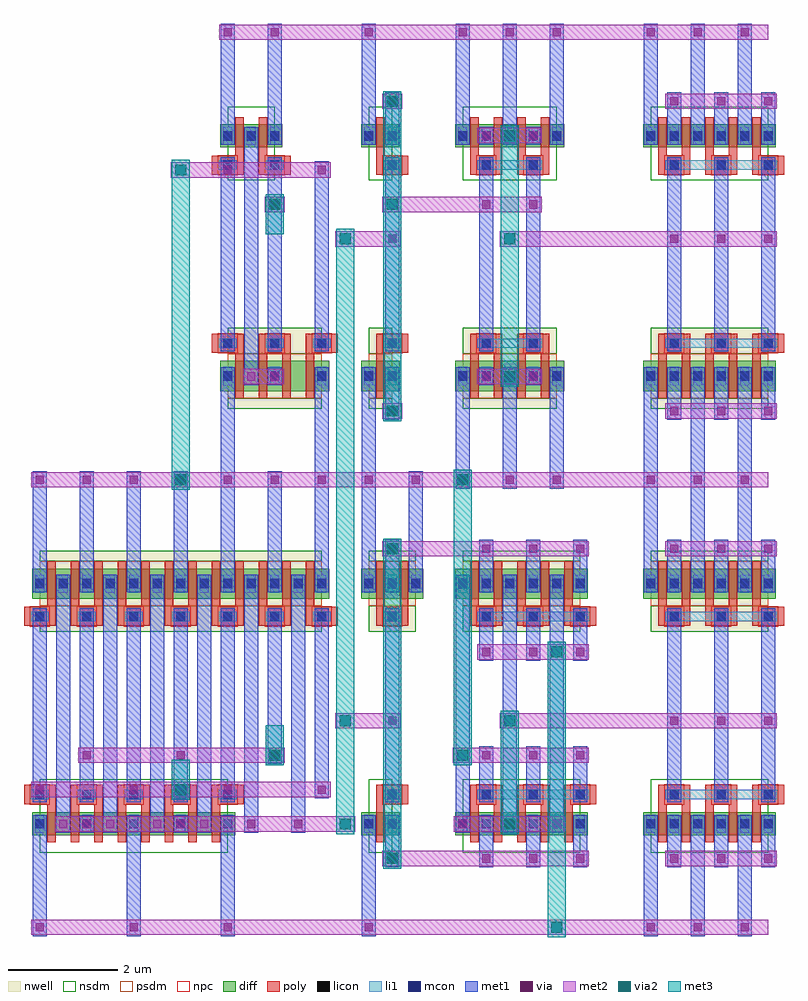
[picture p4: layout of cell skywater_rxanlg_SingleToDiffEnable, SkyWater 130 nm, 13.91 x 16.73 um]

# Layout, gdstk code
import gdstk
lib = gdstk.Library(unit=1e-6, precision=1e-09)
def R(c, l, rs):  # rectangles x0, y0, x1, y1
    for r in rs: c.add(gdstk.rectangle(r[:2], r[2:], *l))
def A(c, l, x, y, w, h, nx, ny, dx, dy):  # array of equal rectangles
    R(c, l, [(x+i*dx, y+j*dy, x+i*dx+w, y+j*dy+h) for i in range(nx) for j in range(ny)])
def P(c, l, *ps):  # polygons
    for p in ps: c.add(gdstk.Polygon(p, *l))
nwell = (64, 20)
diff = (65, 20)
poly = (66, 20)
licon = (66, 44)
li1 = (67, 20)
mcon = (67, 44)
met1 = (68, 20)
via = (68, 44)
met2 = (69, 20)
via2 = (69, 44)
met3 = (70, 20)
nsdm = (93, 44)
psdm = (94, 20)
npc = (95, 20)

skywater_rxanlg_mosconn_ = lib.new_cell('skywater_rxanlg_MOSConn_6')
R(skywater_rxanlg_mosconn_, diff, [(-0.14,0.605,3.58,1.025)])
A(skywater_rxanlg_mosconn_, poly, -0.165, 0.105, 0.33, 0.35, 5, 1, 0.86, 0)
P(skywater_rxanlg_mosconn_, poly, [(0.14,1.155),(0.14,0.455),(-0.29,0.455),(-0.29,0.105),(0.29,0.105),(0.29,1.155)],
  [(1,1.155),(1,0.455),(0.72,0.455),(0.72,1.155),(0.57,1.155),(0.57,0.105),(1.15,0.105),(1.15,1.155)],
  [(1.86,1.155),(1.86,0.455),(1.58,0.455),(1.58,1.155),(1.43,1.155),(1.43,0.105),(2.01,0.105),(2.01,1.155)],
  [(2.72,1.155),(2.72,0.455),(2.44,0.455),(2.44,1.155),(2.29,1.155),(2.29,0.105),(2.87,0.105),(2.87,1.155)],
  [(3.15,1.155),(3.15,0.105),(3.73,0.105),(3.73,0.455),(3.3,0.455),(3.3,1.155)])
A(skywater_rxanlg_mosconn_, licon, -0.085, 0.195, 0.17, 0.17, 5, 2, 0.86, 0.535)
A(skywater_rxanlg_mosconn_, li1, -0.125, 0.195, 0.25, 0.17, 5, 1, 0.86, 0)
A(skywater_rxanlg_mosconn_, li1, -0.085, 0.65, 0.17, 0.33, 5, 1, 0.86, 0)
A(skywater_rxanlg_mosconn_, li1, -0.085, 0.69, 0.17, 0.25, 5, 1, 0.86, 0)
R(skywater_rxanlg_mosconn_, li1, [(-0.165,0.195,0.165,0.365), (-0.165,0.195,0.165,0.365), (0.695,0.195,1.025,0.365), (0.695,0.195,1.025,0.365), (1.555,0.195,1.885,0.365), (1.555,0.195,1.885,0.365), (2.415,0.195,2.745,0.365), (2.415,0.195,2.745,0.365), (3.275,0.195,3.605,0.365), (3.275,0.195,3.605,0.365)])
A(skywater_rxanlg_mosconn_, mcon, -0.085, 0.195, 0.17, 0.17, 5, 2, 0.86, 0.535)
A(skywater_rxanlg_mosconn_, met1, -0.13, 0.105, 0.26, 0.32, 5, 2, 0.86, 0.55)
A(skywater_rxanlg_mosconn_, met1, -0.13, 0.135, 0.26, 0.29, 5, 2, 0.86, 0.535)
R(skywater_rxanlg_mosconn_, nsdm, [(0,0,3.44,1.35)])
A(skywater_rxanlg_mosconn_, npc, -0.185, 0.095, 0.37, 0.37, 5, 1, 0.86, 0)

c_skywater_rxanlg_mosconn_ = lib.new_cell('skywater_rxanlg_MOSConn_10')
R(c_skywater_rxanlg_mosconn_, nwell, [(0,0,5.16,1.48)])
R(c_skywater_rxanlg_mosconn_, diff, [(-0.14,0.605,5.3,1.155)])
A(c_skywater_rxanlg_mosconn_, poly, -0.165, 0.105, 0.33, 0.35, 7, 1, 0.86, 0)
P(c_skywater_rxanlg_mosconn_, poly, [(0.14,1.285),(0.14,0.455),(-0.29,0.455),(-0.29,0.105),(0.29,0.105),(0.29,1.285)],
  [(1,1.285),(1,0.455),(0.72,0.455),(0.72,1.285),(0.57,1.285),(0.57,0.105),(1.15,0.105),(1.15,1.285)],
  [(1.86,1.285),(1.86,0.455),(1.58,0.455),(1.58,1.285),(1.43,1.285),(1.43,0.105),(2.01,0.105),(2.01,1.285)],
  [(2.72,1.285),(2.72,0.455),(2.44,0.455),(2.44,1.285),(2.29,1.285),(2.29,0.105),(2.87,0.105),(2.87,1.285)],
  [(3.58,1.285),(3.58,0.455),(3.3,0.455),(3.3,1.285),(3.15,1.285),(3.15,0.105),(3.73,0.105),(3.73,1.285)],
  [(4.44,1.285),(4.44,0.455),(4.16,0.455),(4.16,1.285),(4.01,1.285),(4.01,0.105),(4.59,0.105),(4.59,1.285)],
  [(4.87,1.285),(4.87,0.105),(5.45,0.105),(5.45,0.455),(5.02,0.455),(5.02,1.285)])
A(c_skywater_rxanlg_mosconn_, licon, -0.085, 0.195, 0.17, 0.17, 7, 1, 0.86, 0)
A(c_skywater_rxanlg_mosconn_, licon, -0.085, 0.795, 0.17, 0.17, 13, 1, 0.43, 0)
A(c_skywater_rxanlg_mosconn_, li1, -0.125, 0.195, 0.25, 0.17, 7, 1, 0.86, 0)
A(c_skywater_rxanlg_mosconn_, li1, -0.085, 0.715, 0.17, 0.33, 13, 1, 0.43, 0)
A(c_skywater_rxanlg_mosconn_, li1, -0.085, 0.755, 0.17, 0.25, 13, 1, 0.43, 0)
R(c_skywater_rxanlg_mosconn_, li1, [(-0.165,0.195,0.165,0.365), (-0.165,0.195,0.165,0.365), (0.695,0.195,1.025,0.365), (0.695,0.195,1.025,0.365), (1.555,0.195,1.885,0.365), (1.555,0.195,1.885,0.365), (2.415,0.195,2.745,0.365), (2.415,0.195,2.745,0.365), (3.275,0.195,3.605,0.365), (3.275,0.195,3.605,0.365), (4.135,0.195,4.465,0.365), (4.135,0.195,4.465,0.365), (4.995,0.195,5.325,0.365), (4.995,0.195,5.325,0.365)])
A(c_skywater_rxanlg_mosconn_, mcon, -0.085, 0.195, 0.17, 0.17, 7, 1, 0.86, 0)
A(c_skywater_rxanlg_mosconn_, mcon, -0.085, 0.795, 0.17, 0.17, 13, 1, 0.43, 0)
A(c_skywater_rxanlg_mosconn_, met1, -0.13, 0.105, 0.26, 0.32, 7, 1, 0.86, 0)
A(c_skywater_rxanlg_mosconn_, met1, -0.13, 0.135, 0.26, 0.29, 7, 1, 0.86, 0)
A(c_skywater_rxanlg_mosconn_, met1, -0.13, 0.72, 0.26, 0.32, 13, 1, 0.43, 0)
A(c_skywater_rxanlg_mosconn_, met1, -0.13, 0.735, 0.26, 0.29, 13, 1, 0.43, 0)
R(c_skywater_rxanlg_mosconn_, nsdm, [(0,0,5.16,0.475), (0,1.285,5.16,1.48)])
R(c_skywater_rxanlg_mosconn_, psdm, [(0,0.475,5.16,1.285)])
A(c_skywater_rxanlg_mosconn_, npc, -0.185, 0.095, 0.37, 0.37, 7, 1, 0.86, 0)

skywater_rxanlg_nand2cor = lib.new_cell('skywater_rxanlg_NAND2Core')
A(skywater_rxanlg_nand2cor, met1, -0.13, -0.16, 0.26, 2.215, 3, 1, 1.72, 0)
A(skywater_rxanlg_nand2cor, met1, -0.13, -0.16, 0.26, 0.32, 3, 1, 1.72, 0)
A(skywater_rxanlg_nand2cor, met1, 0.3, 1.73, 0.26, 4.72, 6, 1, 0.86, 0)
A(skywater_rxanlg_nand2cor, met1, 0.3, 1.73, 0.26, 0.32, 3, 1, 0.43, 0)
A(skywater_rxanlg_nand2cor, met1, 2.02, 1.73, 0.26, 0.32, 3, 1, 0.43, 0)
A(skywater_rxanlg_nand2cor, met1, -0.13, 2.285, 0.26, 3.55, 5, 1, 0.86, 0)
A(skywater_rxanlg_nand2cor, met1, -0.13, 2.36, 0.26, 0.32, 4, 1, 1.72, 0)
A(skywater_rxanlg_nand2cor, met1, 0.73, 2.99, 0.26, 0.32, 3, 1, 1.72, 0)
A(skywater_rxanlg_nand2cor, met1, -0.13, 6.13, 0.26, 2.22, 7, 1, 0.86, 0)
A(skywater_rxanlg_nand2cor, met1, -0.13, 8.03, 0.26, 0.32, 7, 1, 0.86, 0)
R(skywater_rxanlg_nand2cor, met1, [(0.73,1.73,0.99,2.055), (2.45,1.73,2.71,2.055), (3.74,1.73,4,2.05), (4.6,1.73,4.86,2.05), (5.03,2.36,5.29,5.835), (4.17,2.99,4.43,5.835)])
A(skywater_rxanlg_nand2cor, via, -0.075, -0.075, 0.15, 0.15, 3, 1, 1.72, 0)
A(skywater_rxanlg_nand2cor, via, 0.355, 1.815, 0.15, 0.15, 3, 1, 0.43, 0)
A(skywater_rxanlg_nand2cor, via, 2.075, 1.815, 0.15, 0.15, 3, 1, 0.43, 0)
A(skywater_rxanlg_nand2cor, via, -0.075, 2.445, 0.15, 0.15, 4, 1, 1.72, 0)
A(skywater_rxanlg_nand2cor, via, 0.785, 3.075, 0.15, 0.15, 3, 1, 1.72, 0)
A(skywater_rxanlg_nand2cor, via, -0.075, 8.115, 0.15, 0.15, 7, 1, 0.86, 0)
R(skywater_rxanlg_nand2cor, via, [(3.795,1.815,3.945,1.965), (4.655,1.815,4.805,1.965)])
A(skywater_rxanlg_nand2cor, met2, -0.16, -0.14, 0.32, 0.28, 3, 1, 1.72, 0)
A(skywater_rxanlg_nand2cor, met2, 0.27, 1.75, 0.32, 0.28, 3, 1, 0.43, 0)
A(skywater_rxanlg_nand2cor, met2, 1.99, 1.75, 0.32, 0.28, 3, 1, 0.43, 0)
A(skywater_rxanlg_nand2cor, met2, -0.16, 2.38, 0.32, 0.28, 4, 1, 1.72, 0)
A(skywater_rxanlg_nand2cor, met2, 0.7, 3.01, 0.32, 0.28, 3, 1, 1.72, 0)
A(skywater_rxanlg_nand2cor, met2, -0.16, 8.05, 0.32, 0.28, 7, 1, 0.86, 0)
R(skywater_rxanlg_nand2cor, met2, [(-0.16,-0.14,5.16,0.14), (0.27,1.75,4.89,2.03), (3.71,1.75,4.03,2.03), (4.57,1.75,4.89,2.03), (-0.16,2.38,5.32,2.66), (0.7,3.01,4.46,3.29), (-0.16,8.05,5.32,8.33)])
skywater_rxanlg_nand2cor.add(gdstk.Reference(skywater_rxanlg_mosconn_, (0,2.71), x_reflection=True))
skywater_rxanlg_nand2cor.add(gdstk.Reference(c_skywater_rxanlg_mosconn_, (0,5.41)))

c_skywater_rxanlg_mosconn__ = lib.new_cell('skywater_rxanlg_MOSConn_7')
R(c_skywater_rxanlg_mosconn__, diff, [(-0.14,0.605,0.57,1.025)])
R(c_skywater_rxanlg_mosconn__, poly, [(0.265,0.105,0.595,0.455)])
P(c_skywater_rxanlg_mosconn__, poly, [(0.14,1.155),(0.14,0.105),(0.72,0.105),(0.72,0.455),(0.29,0.455),(0.29,1.155)])
R(c_skywater_rxanlg_mosconn__, licon, [(0.345,0.195,0.515,0.365), (-0.085,0.73,0.085,0.9), (0.345,0.73,0.515,0.9)])
R(c_skywater_rxanlg_mosconn__, li1, [(0.265,0.195,0.595,0.365), (0.265,0.195,0.595,0.365), (0.305,0.195,0.555,0.365), (-0.085,0.65,0.085,0.98), (0.345,0.65,0.515,0.98), (-0.085,0.69,0.085,0.94), (0.345,0.69,0.515,0.94)])
R(c_skywater_rxanlg_mosconn__, mcon, [(0.345,0.195,0.515,0.365), (-0.085,0.73,0.085,0.9), (0.345,0.73,0.515,0.9)])
R(c_skywater_rxanlg_mosconn__, met1, [(0.3,0.105,0.56,0.425), (0.3,0.135,0.56,0.425), (-0.13,0.655,0.13,0.975), (0.3,0.655,0.56,0.975), (-0.13,0.67,0.13,0.96), (0.3,0.67,0.56,0.96)])
R(c_skywater_rxanlg_mosconn__, nsdm, [(0,0,0.43,1.35)])
R(c_skywater_rxanlg_mosconn__, npc, [(0.245,0.095,0.615,0.465)])

c_skywater_rxanlg_mosconn___ = lib.new_cell('skywater_rxanlg_MOSConn_3')
R(c_skywater_rxanlg_mosconn___, nwell, [(0,0,0.86,1.48)])
R(c_skywater_rxanlg_mosconn___, diff, [(-0.14,0.605,1,1.155)])
R(c_skywater_rxanlg_mosconn___, poly, [(0.265,0.105,0.595,0.455)])
P(c_skywater_rxanlg_mosconn___, poly, [(0.57,1.285),(0.57,0.455),(0.29,0.455),(0.29,1.285),(0.14,1.285),(0.14,0.105),(0.72,0.105),(0.72,1.285)])
A(c_skywater_rxanlg_mosconn___, licon, -0.085, 0.795, 0.17, 0.17, 3, 1, 0.43, 0)
R(c_skywater_rxanlg_mosconn___, licon, [(0.345,0.195,0.515,0.365)])
A(c_skywater_rxanlg_mosconn___, li1, -0.085, 0.715, 0.17, 0.33, 3, 1, 0.43, 0)
A(c_skywater_rxanlg_mosconn___, li1, -0.085, 0.755, 0.17, 0.25, 3, 1, 0.43, 0)
R(c_skywater_rxanlg_mosconn___, li1, [(0.265,0.195,0.595,0.365), (0.265,0.195,0.595,0.365), (0.305,0.195,0.555,0.365)])
A(c_skywater_rxanlg_mosconn___, mcon, -0.085, 0.795, 0.17, 0.17, 3, 1, 0.43, 0)
R(c_skywater_rxanlg_mosconn___, mcon, [(0.345,0.195,0.515,0.365)])
A(c_skywater_rxanlg_mosconn___, met1, -0.13, 0.72, 0.26, 0.32, 3, 1, 0.43, 0)
A(c_skywater_rxanlg_mosconn___, met1, -0.13, 0.735, 0.26, 0.29, 3, 1, 0.43, 0)
R(c_skywater_rxanlg_mosconn___, met1, [(0.3,0.105,0.56,0.425), (0.3,0.135,0.56,0.425)])
R(c_skywater_rxanlg_mosconn___, nsdm, [(0,0,0.86,0.475), (0,1.285,0.86,1.48)])
R(c_skywater_rxanlg_mosconn___, psdm, [(0,0.475,0.86,1.285)])
R(c_skywater_rxanlg_mosconn___, npc, [(0.245,0.095,0.615,0.465)])

skywater_rxanlg_invcore_ = lib.new_cell('skywater_rxanlg_InvCore_5')
R(skywater_rxanlg_invcore_, met1, [(-0.13,-0.16,0.13,2.055), (-0.13,-0.16,0.13,0.16), (0.3,1.1,0.56,2.055), (0.3,1.1,0.56,1.42), (0.3,2.285,0.56,5.835), (0.3,3.62,0.56,3.94), (-0.13,6.13,0.13,8.35), (0.3,6.13,0.56,7.09), (0.73,6.13,0.99,8.35), (0.3,6.77,0.56,7.09), (-0.13,8.03,0.13,8.35), (0.73,8.03,0.99,8.35)])
R(skywater_rxanlg_invcore_, via, [(-0.075,-0.075,0.075,0.075), (0.355,1.185,0.505,1.335), (0.355,3.705,0.505,3.855), (0.355,6.855,0.505,7.005), (-0.075,8.115,0.075,8.265), (0.785,8.115,0.935,8.265)])
R(skywater_rxanlg_invcore_, met2, [(-0.16,-0.14,0.86,0.14), (-0.16,-0.14,0.16,0.14), (0.245,1.12,0.615,1.4), (0.245,1.12,0.615,1.4), (0.27,1.12,0.59,1.4), (0.27,3.64,0.59,3.92), (0.27,3.64,0.59,3.92), (0.245,6.79,0.615,7.07), (0.245,6.79,0.615,7.07), (0.27,6.79,0.59,7.07), (-0.16,8.05,0.16,8.33), (-0.16,8.05,1.02,8.33), (0.7,8.05,1.02,8.33)])
R(skywater_rxanlg_invcore_, via2, [(0.33,1.16,0.53,1.36), (0.33,6.83,0.53,7.03)])
R(skywater_rxanlg_invcore_, met3, [(0.265,1.075,0.595,7.115), (0.265,1.075,0.595,1.445), (0.265,6.745,0.595,7.115)])
skywater_rxanlg_invcore_.add(gdstk.Reference(c_skywater_rxanlg_mosconn__, (0,2.71), x_reflection=True))
skywater_rxanlg_invcore_.add(gdstk.Reference(c_skywater_rxanlg_mosconn___, (0,5.41)))

c_skywater_rxanlg_mosconn____ = lib.new_cell('skywater_rxanlg_MOSConn_14')
R(c_skywater_rxanlg_mosconn____, diff, [(-0.14,0.605,2.29,1.025)])
A(c_skywater_rxanlg_mosconn____, poly, 0.265, 0.105, 0.33, 0.35, 3, 1, 0.86, 0)
P(c_skywater_rxanlg_mosconn____, poly, [(0.57,1.155),(0.57,0.455),(0.29,0.455),(0.29,1.155),(0.14,1.155),(0.14,0.105),(0.72,0.105),(0.72,1.155)],
  [(1.43,1.155),(1.43,0.455),(1.15,0.455),(1.15,1.155),(1,1.155),(1,0.105),(1.58,0.105),(1.58,1.155)],
  [(1.86,1.155),(1.86,0.105),(2.44,0.105),(2.44,0.455),(2.01,0.455),(2.01,1.155)])
A(c_skywater_rxanlg_mosconn____, licon, 0.345, 0.195, 0.17, 0.17, 3, 1, 0.86, 0)
A(c_skywater_rxanlg_mosconn____, licon, -0.085, 0.73, 0.17, 0.17, 6, 1, 0.43, 0)
A(c_skywater_rxanlg_mosconn____, li1, 0.265, 0.195, 0.33, 0.17, 3, 1, 0.86, 0)
A(c_skywater_rxanlg_mosconn____, li1, 0.305, 0.195, 0.25, 0.17, 3, 1, 0.86, 0)
A(c_skywater_rxanlg_mosconn____, li1, -0.085, 0.65, 0.17, 0.33, 6, 1, 0.43, 0)
A(c_skywater_rxanlg_mosconn____, li1, -0.085, 0.69, 0.17, 0.25, 6, 1, 0.43, 0)
R(c_skywater_rxanlg_mosconn____, li1, [(0.265,0.195,2.315,0.365)])
A(c_skywater_rxanlg_mosconn____, mcon, 0.345, 0.195, 0.17, 0.17, 3, 1, 0.86, 0)
A(c_skywater_rxanlg_mosconn____, mcon, -0.085, 0.73, 0.17, 0.17, 6, 1, 0.43, 0)
A(c_skywater_rxanlg_mosconn____, met1, 0.3, 0.105, 0.26, 0.32, 3, 1, 0.86, 0)
A(c_skywater_rxanlg_mosconn____, met1, 0.3, 0.135, 0.26, 0.29, 3, 1, 0.86, 0)
A(c_skywater_rxanlg_mosconn____, met1, -0.13, 0.655, 0.26, 0.32, 6, 1, 0.43, 0)
A(c_skywater_rxanlg_mosconn____, met1, -0.13, 0.67, 0.26, 0.29, 6, 1, 0.43, 0)
R(c_skywater_rxanlg_mosconn____, nsdm, [(0,0,2.15,1.35)])
A(c_skywater_rxanlg_mosconn____, npc, 0.245, 0.095, 0.37, 0.37, 3, 1, 0.86, 0)

c_skywater_rxanlg_mosconn_____ = lib.new_cell('skywater_rxanlg_MOSConn_13')
R(c_skywater_rxanlg_mosconn_____, nwell, [(0,0,2.15,1.48)])
R(c_skywater_rxanlg_mosconn_____, diff, [(-0.14,0.605,2.29,1.155)])
A(c_skywater_rxanlg_mosconn_____, poly, 0.265, 0.105, 0.33, 0.35, 3, 1, 0.86, 0)
P(c_skywater_rxanlg_mosconn_____, poly, [(0.57,1.285),(0.57,0.455),(0.29,0.455),(0.29,1.285),(0.14,1.285),(0.14,0.105),(0.72,0.105),(0.72,1.285)],
  [(1.43,1.285),(1.43,0.455),(1.15,0.455),(1.15,1.285),(1,1.285),(1,0.105),(1.58,0.105),(1.58,1.285)],
  [(1.86,1.285),(1.86,0.105),(2.44,0.105),(2.44,0.455),(2.01,0.455),(2.01,1.285)])
A(c_skywater_rxanlg_mosconn_____, licon, 0.345, 0.195, 0.17, 0.17, 3, 1, 0.86, 0)
A(c_skywater_rxanlg_mosconn_____, licon, -0.085, 0.795, 0.17, 0.17, 6, 1, 0.43, 0)
A(c_skywater_rxanlg_mosconn_____, li1, 0.265, 0.195, 0.33, 0.17, 3, 1, 0.86, 0)
A(c_skywater_rxanlg_mosconn_____, li1, 0.305, 0.195, 0.25, 0.17, 3, 1, 0.86, 0)
A(c_skywater_rxanlg_mosconn_____, li1, -0.085, 0.715, 0.17, 0.33, 6, 1, 0.43, 0)
A(c_skywater_rxanlg_mosconn_____, li1, -0.085, 0.755, 0.17, 0.25, 6, 1, 0.43, 0)
R(c_skywater_rxanlg_mosconn_____, li1, [(0.265,0.195,2.315,0.365)])
A(c_skywater_rxanlg_mosconn_____, mcon, 0.345, 0.195, 0.17, 0.17, 3, 1, 0.86, 0)
A(c_skywater_rxanlg_mosconn_____, mcon, -0.085, 0.795, 0.17, 0.17, 6, 1, 0.43, 0)
A(c_skywater_rxanlg_mosconn_____, met1, 0.3, 0.105, 0.26, 0.32, 3, 1, 0.86, 0)
A(c_skywater_rxanlg_mosconn_____, met1, 0.3, 0.135, 0.26, 0.29, 3, 1, 0.86, 0)
A(c_skywater_rxanlg_mosconn_____, met1, -0.13, 0.72, 0.26, 0.32, 6, 1, 0.43, 0)
A(c_skywater_rxanlg_mosconn_____, met1, -0.13, 0.735, 0.26, 0.29, 6, 1, 0.43, 0)
R(c_skywater_rxanlg_mosconn_____, nsdm, [(0,0,2.15,0.475), (0,1.285,2.15,1.48)])
R(c_skywater_rxanlg_mosconn_____, psdm, [(0,0.475,2.15,1.285)])
A(c_skywater_rxanlg_mosconn_____, npc, 0.245, 0.095, 0.37, 0.37, 3, 1, 0.86, 0)

c_skywater_rxanlg_invcore_ = lib.new_cell('skywater_rxanlg_InvCore_6')
A(c_skywater_rxanlg_invcore_, met1, -0.13, -0.16, 0.26, 2.215, 3, 1, 0.86, 0)
A(c_skywater_rxanlg_invcore_, met1, -0.13, -0.16, 0.26, 0.32, 3, 2, 0.86, 8.19)
A(c_skywater_rxanlg_invcore_, met1, 0.3, 1.1, 0.26, 0.955, 3, 1, 0.86, 0)
A(c_skywater_rxanlg_invcore_, met1, 0.3, 1.1, 0.26, 0.32, 3, 2, 0.86, 2.52)
A(c_skywater_rxanlg_invcore_, met1, 0.3, 2.285, 0.26, 3.55, 3, 1, 0.86, 0)
A(c_skywater_rxanlg_invcore_, met1, -0.13, 6.13, 0.26, 2.22, 3, 1, 0.86, 0)
A(c_skywater_rxanlg_invcore_, met1, 0.3, 6.13, 0.26, 0.96, 3, 1, 0.86, 0)
A(c_skywater_rxanlg_invcore_, met1, 0.3, 6.77, 0.26, 0.32, 3, 1, 0.86, 0)
A(c_skywater_rxanlg_invcore_, via, -0.075, -0.075, 0.15, 0.15, 3, 2, 0.86, 8.19)
A(c_skywater_rxanlg_invcore_, via, 0.355, 1.185, 0.15, 0.15, 3, 2, 0.86, 2.52)
A(c_skywater_rxanlg_invcore_, via, 0.355, 6.855, 0.15, 0.15, 3, 1, 0.86, 0)
A(c_skywater_rxanlg_invcore_, met2, -0.16, -0.14, 0.32, 0.28, 3, 2, 0.86, 8.19)
A(c_skywater_rxanlg_invcore_, met2, 0.27, 1.12, 0.32, 0.28, 3, 2, 0.86, 2.52)
A(c_skywater_rxanlg_invcore_, met2, 0.27, 6.79, 0.32, 0.28, 3, 1, 0.86, 0)
R(c_skywater_rxanlg_invcore_, met2, [(-0.16,-0.14,2.15,0.14), (0.27,1.12,2.31,1.4), (0.27,3.64,2.31,3.92), (0.27,6.79,2.31,7.07), (-0.16,8.05,2.15,8.33)])
c_skywater_rxanlg_invcore_.add(gdstk.Reference(c_skywater_rxanlg_mosconn____, (0,2.71), x_reflection=True))
c_skywater_rxanlg_invcore_.add(gdstk.Reference(c_skywater_rxanlg_mosconn_____, (0,5.41)))

skywater_rxanlg_passgate = lib.new_cell('skywater_rxanlg_PassGateCore')
A(skywater_rxanlg_passgate, met1, 0.3, 1.1, 0.26, 0.955, 3, 2, 0.86, 3.78)
A(skywater_rxanlg_passgate, met1, 0.3, 1.1, 0.26, 0.32, 3, 4, 0.86, 1.89)
A(skywater_rxanlg_passgate, met1, -0.13, 1.73, 0.26, 4.72, 3, 1, 0.86, 0)
A(skywater_rxanlg_passgate, met1, -0.13, 1.73, 0.26, 0.32, 3, 1, 0.86, 0)
A(skywater_rxanlg_passgate, met1, 0.3, 2.285, 0.26, 1.025, 3, 1, 0.86, 0)
A(skywater_rxanlg_passgate, met1, 0.3, 6.13, 0.26, 0.96, 3, 1, 0.86, 0)
A(skywater_rxanlg_passgate, via, 0.355, 1.185, 0.15, 0.15, 3, 4, 0.86, 1.89)
A(skywater_rxanlg_passgate, via, -0.075, 1.815, 0.15, 0.15, 3, 1, 0.86, 0)
A(skywater_rxanlg_passgate, met2, 0.27, 1.12, 2.04, 0.28, 1, 4, 0, 1.89)
A(skywater_rxanlg_passgate, met2, 0.27, 1.12, 0.32, 0.28, 3, 4, 0.86, 1.89)
A(skywater_rxanlg_passgate, met2, -0.16, 1.75, 0.32, 0.28, 3, 1, 0.86, 0)
R(skywater_rxanlg_passgate, met2, [(0,-0.14,2.15,0.14), (-0.16,1.75,1.88,2.03), (0,8.05,2.15,8.33)])
skywater_rxanlg_passgate.add(gdstk.Reference(c_skywater_rxanlg_mosconn____, (0,2.71), x_reflection=True))
skywater_rxanlg_passgate.add(gdstk.Reference(c_skywater_rxanlg_mosconn_____, (0,5.41)))

c_skywater_rxanlg_mosconn______ = lib.new_cell('skywater_rxanlg_MOSConn_4')
R(c_skywater_rxanlg_mosconn______, nwell, [(0,0,0.43,1.48)])
R(c_skywater_rxanlg_mosconn______, diff, [(-0.14,0.605,0.57,1.155)])
R(c_skywater_rxanlg_mosconn______, poly, [(0.265,0.105,0.595,0.455)])
P(c_skywater_rxanlg_mosconn______, poly, [(0.14,1.285),(0.14,0.105),(0.72,0.105),(0.72,0.455),(0.29,0.455),(0.29,1.285)])
R(c_skywater_rxanlg_mosconn______, licon, [(0.345,0.195,0.515,0.365), (-0.085,0.795,0.085,0.965), (0.345,0.795,0.515,0.965)])
R(c_skywater_rxanlg_mosconn______, li1, [(0.265,0.195,0.595,0.365), (0.265,0.195,0.595,0.365), (0.305,0.195,0.555,0.365), (-0.085,0.715,0.085,1.045), (0.345,0.715,0.515,1.045), (-0.085,0.755,0.085,1.005), (0.345,0.755,0.515,1.005)])
R(c_skywater_rxanlg_mosconn______, mcon, [(0.345,0.195,0.515,0.365), (-0.085,0.795,0.085,0.965), (0.345,0.795,0.515,0.965)])
R(c_skywater_rxanlg_mosconn______, met1, [(0.3,0.105,0.56,0.425), (0.3,0.135,0.56,0.425), (-0.13,0.72,0.13,1.04), (0.3,0.72,0.56,1.04), (-0.13,0.735,0.13,1.025), (0.3,0.735,0.56,1.025)])
R(c_skywater_rxanlg_mosconn______, nsdm, [(0,0,0.43,0.475), (0,1.285,0.43,1.48)])
R(c_skywater_rxanlg_mosconn______, psdm, [(0,0.475,0.43,1.285)])
R(c_skywater_rxanlg_mosconn______, npc, [(0.245,0.095,0.615,0.465)])

c_skywater_rxanlg_invcore__ = lib.new_cell('skywater_rxanlg_InvCore_7')
R(c_skywater_rxanlg_invcore__, met1, [(-0.13,-0.16,0.13,2.055), (-0.13,-0.16,0.13,0.16), (0.3,1.1,0.56,2.055), (0.3,1.1,0.56,1.42), (0.3,2.285,0.56,5.835), (0.3,3.62,0.56,3.94), (-0.13,6.13,0.13,8.35), (0.3,6.13,0.56,7.09), (0.3,6.77,0.56,7.09), (-0.13,8.03,0.13,8.35)])
R(c_skywater_rxanlg_invcore__, via, [(-0.075,-0.075,0.075,0.075), (0.355,1.185,0.505,1.335), (0.355,3.705,0.505,3.855), (0.355,6.855,0.505,7.005), (-0.075,8.115,0.075,8.265)])
R(c_skywater_rxanlg_invcore__, met2, [(-0.16,-0.14,0.43,0.14), (-0.16,-0.14,0.16,0.14), (0.245,1.12,0.615,1.4), (0.245,1.12,0.615,1.4), (0.27,1.12,0.59,1.4), (0.27,3.64,0.59,3.92), (0.27,3.64,0.59,3.92), (0.245,6.79,0.615,7.07), (0.245,6.79,0.615,7.07), (0.27,6.79,0.59,7.07), (-0.16,8.05,0.43,8.33), (-0.16,8.05,0.16,8.33)])
R(c_skywater_rxanlg_invcore__, via2, [(0.33,1.16,0.53,1.36), (0.33,6.83,0.53,7.03)])
R(c_skywater_rxanlg_invcore__, met3, [(0.265,1.075,0.595,7.115), (0.265,1.075,0.595,1.445), (0.265,6.745,0.595,7.115)])
c_skywater_rxanlg_invcore__.add(gdstk.Reference(c_skywater_rxanlg_mosconn__, (0,2.71), x_reflection=True))
c_skywater_rxanlg_invcore__.add(gdstk.Reference(c_skywater_rxanlg_mosconn______, (0,5.41)))

c_skywater_rxanlg_mosconn_______ = lib.new_cell('skywater_rxanlg_MOSConn_8')
R(c_skywater_rxanlg_mosconn_______, diff, [(-0.14,0.605,1.86,1.025)])
R(c_skywater_rxanlg_mosconn_______, poly, [(0.265,0.105,0.595,0.455), (1.125,0.105,1.455,0.455)])
P(c_skywater_rxanlg_mosconn_______, poly, [(0.57,1.155),(0.57,0.455),(0.29,0.455),(0.29,1.155),(0.14,1.155),(0.14,0.105),(0.72,0.105),(0.72,1.155)],
  [(1.43,1.155),(1.43,0.455),(1.15,0.455),(1.15,1.155),(1,1.155),(1,0.105),(1.58,0.105),(1.58,1.155)])
A(c_skywater_rxanlg_mosconn_______, licon, -0.085, 0.73, 0.17, 0.17, 5, 1, 0.43, 0)
R(c_skywater_rxanlg_mosconn_______, licon, [(0.345,0.195,0.515,0.365), (1.205,0.195,1.375,0.365)])
A(c_skywater_rxanlg_mosconn_______, li1, -0.085, 0.65, 0.17, 0.33, 5, 1, 0.43, 0)
A(c_skywater_rxanlg_mosconn_______, li1, -0.085, 0.69, 0.17, 0.25, 5, 1, 0.43, 0)
R(c_skywater_rxanlg_mosconn_______, li1, [(0.265,0.195,1.455,0.365), (0.265,0.195,0.595,0.365), (0.305,0.195,0.555,0.365), (1.125,0.195,1.455,0.365), (1.165,0.195,1.415,0.365)])
A(c_skywater_rxanlg_mosconn_______, mcon, -0.085, 0.73, 0.17, 0.17, 5, 1, 0.43, 0)
R(c_skywater_rxanlg_mosconn_______, mcon, [(0.345,0.195,0.515,0.365), (1.205,0.195,1.375,0.365)])
A(c_skywater_rxanlg_mosconn_______, met1, -0.13, 0.655, 0.26, 0.32, 5, 1, 0.43, 0)
A(c_skywater_rxanlg_mosconn_______, met1, -0.13, 0.67, 0.26, 0.29, 5, 1, 0.43, 0)
R(c_skywater_rxanlg_mosconn_______, met1, [(0.3,0.105,0.56,0.425), (1.16,0.105,1.42,0.425), (0.3,0.135,0.56,0.425), (1.16,0.135,1.42,0.425)])
R(c_skywater_rxanlg_mosconn_______, nsdm, [(0,0,1.72,1.35)])
R(c_skywater_rxanlg_mosconn_______, npc, [(0.245,0.095,0.615,0.465), (1.105,0.095,1.475,0.465)])

c_skywater_rxanlg_mosconn________ = lib.new_cell('skywater_rxanlg_MOSConn_9')
R(c_skywater_rxanlg_mosconn________, nwell, [(0,0,1.72,1.48)])
R(c_skywater_rxanlg_mosconn________, diff, [(-0.14,0.605,1.86,1.155)])
R(c_skywater_rxanlg_mosconn________, poly, [(0.265,0.105,0.595,0.455), (1.125,0.105,1.455,0.455)])
P(c_skywater_rxanlg_mosconn________, poly, [(0.57,1.285),(0.57,0.455),(0.29,0.455),(0.29,1.285),(0.14,1.285),(0.14,0.105),(0.72,0.105),(0.72,1.285)],
  [(1.43,1.285),(1.43,0.455),(1.15,0.455),(1.15,1.285),(1,1.285),(1,0.105),(1.58,0.105),(1.58,1.285)])
A(c_skywater_rxanlg_mosconn________, licon, -0.085, 0.795, 0.17, 0.17, 5, 1, 0.43, 0)
R(c_skywater_rxanlg_mosconn________, licon, [(0.345,0.195,0.515,0.365), (1.205,0.195,1.375,0.365)])
A(c_skywater_rxanlg_mosconn________, li1, -0.085, 0.715, 0.17, 0.33, 5, 1, 0.43, 0)
A(c_skywater_rxanlg_mosconn________, li1, -0.085, 0.755, 0.17, 0.25, 5, 1, 0.43, 0)
R(c_skywater_rxanlg_mosconn________, li1, [(0.265,0.195,1.455,0.365), (0.265,0.195,0.595,0.365), (0.305,0.195,0.555,0.365), (1.125,0.195,1.455,0.365), (1.165,0.195,1.415,0.365)])
A(c_skywater_rxanlg_mosconn________, mcon, -0.085, 0.795, 0.17, 0.17, 5, 1, 0.43, 0)
R(c_skywater_rxanlg_mosconn________, mcon, [(0.345,0.195,0.515,0.365), (1.205,0.195,1.375,0.365)])
A(c_skywater_rxanlg_mosconn________, met1, -0.13, 0.72, 0.26, 0.32, 5, 1, 0.43, 0)
A(c_skywater_rxanlg_mosconn________, met1, -0.13, 0.735, 0.26, 0.29, 5, 1, 0.43, 0)
R(c_skywater_rxanlg_mosconn________, met1, [(0.3,0.105,0.56,0.425), (1.16,0.105,1.42,0.425), (0.3,0.135,0.56,0.425), (1.16,0.135,1.42,0.425)])
R(c_skywater_rxanlg_mosconn________, nsdm, [(0,0,1.72,0.475), (0,1.285,1.72,1.48)])
R(c_skywater_rxanlg_mosconn________, psdm, [(0,0.475,1.72,1.285)])
R(c_skywater_rxanlg_mosconn________, npc, [(0.245,0.095,0.615,0.465), (1.105,0.095,1.475,0.465)])

c_skywater_rxanlg_invcore___ = lib.new_cell('skywater_rxanlg_InvCore_8')
A(c_skywater_rxanlg_invcore___, met1, -0.13, -0.16, 0.26, 2.215, 3, 1, 0.86, 0)
A(c_skywater_rxanlg_invcore___, met1, -0.13, -0.16, 0.26, 0.32, 3, 2, 0.86, 8.19)
A(c_skywater_rxanlg_invcore___, met1, -0.13, 6.13, 0.26, 2.22, 3, 1, 0.86, 0)
R(c_skywater_rxanlg_invcore___, met1, [(0.3,1.73,0.56,2.055), (0.3,1.73,0.56,2.05), (1.16,1.73,1.42,2.055), (1.16,1.73,1.42,2.05), (0.3,2.285,0.56,5.835), (1.16,2.285,1.42,5.835), (0.3,2.99,0.56,3.31), (1.16,2.99,1.42,3.31), (0.3,6.13,0.56,6.46), (1.16,6.13,1.42,6.46), (0.3,6.14,0.56,6.46), (1.16,6.14,1.42,6.46)])
A(c_skywater_rxanlg_invcore___, via, -0.075, -0.075, 0.15, 0.15, 3, 2, 0.86, 8.19)
R(c_skywater_rxanlg_invcore___, via, [(0.355,1.815,0.505,1.965), (1.215,1.815,1.365,1.965), (0.355,3.075,0.505,3.225), (1.215,3.075,1.365,3.225), (0.355,6.225,0.505,6.375), (1.215,6.225,1.365,6.375)])
A(c_skywater_rxanlg_invcore___, met2, -0.16, -0.14, 0.32, 0.28, 3, 2, 0.86, 8.19)
R(c_skywater_rxanlg_invcore___, met2, [(-0.16,-0.14,1.88,0.14), (0.27,1.75,1.45,2.03), (0.27,1.75,0.59,2.03), (0.675,1.75,1.045,2.03), (1.13,1.75,1.45,2.03), (0.27,3.01,1.45,3.29), (0.27,3.01,0.59,3.29), (1.13,3.01,1.45,3.29), (0.27,6.16,1.45,6.44), (0.27,6.16,0.59,6.44), (0.675,6.16,1.045,6.44), (1.13,6.16,1.45,6.44), (-0.16,8.05,1.88,8.33)])
R(c_skywater_rxanlg_invcore___, via2, [(0.76,1.79,0.96,1.99), (0.76,6.2,0.96,6.4)])
R(c_skywater_rxanlg_invcore___, met3, [(0.695,1.705,1.025,6.485), (0.695,1.705,1.025,2.075), (0.695,6.115,1.025,6.485)])
c_skywater_rxanlg_invcore___.add(gdstk.Reference(c_skywater_rxanlg_mosconn_______, (0,2.71), x_reflection=True))
c_skywater_rxanlg_invcore___.add(gdstk.Reference(c_skywater_rxanlg_mosconn________, (0,5.41)))

skywater_rxanlg_singleto = lib.new_cell('skywater_rxanlg_SingleToDiff')
A(skywater_rxanlg_singleto, met2, -0.16, -0.14, 7.47, 0.28, 1, 3, 0, 8.19)
R(skywater_rxanlg_singleto, met2, [(3.255,-0.14,3.625,0.14), (0.27,1.12,4.03,1.4), (1.56,1.75,3.6,2.03), (2.395,1.75,2.765,2.03), (1.535,3.01,4.03,3.29), (1.535,3.01,1.905,3.29), (-0.615,3.64,0.59,3.92), (-0.615,3.64,-0.245,3.92), (2.395,3.64,7.47,3.92), (2.395,3.64,2.765,3.92), (1.99,4.9,4.03,5.18), (3.255,4.9,3.625,5.18), (0.27,6.79,4.03,7.07), (1.535,8.05,1.905,8.33), (-0.615,12.46,0.59,12.74), (-0.615,12.46,-0.245,12.74), (2.395,12.46,7.47,12.74), (2.395,12.46,2.765,12.74), (0.245,13.09,3.17,13.37), (0.245,13.09,0.615,13.37)])
R(skywater_rxanlg_singleto, via2, [(3.34,-0.1,3.54,0.1), (2.48,1.79,2.68,1.99), (1.62,3.05,1.82,3.25), (-0.53,3.68,-0.33,3.88), (2.48,3.68,2.68,3.88), (3.34,4.94,3.54,5.14), (1.62,8.09,1.82,8.29), (-0.53,12.5,-0.33,12.7), (2.48,12.5,2.68,12.7), (0.33,13.13,0.53,13.33)])
R(skywater_rxanlg_singleto, met3, [(3.275,-0.185,3.605,5.225), (3.275,-0.185,3.605,0.185), (2.415,1.705,2.745,3.965), (2.415,1.705,2.745,2.075), (1.555,2.965,1.885,8.375), (1.555,2.965,1.885,3.335), (-0.595,3.595,-0.265,12.785), (-0.595,3.595,-0.265,3.965), (2.415,3.595,2.745,3.965), (3.275,4.855,3.605,5.225), (1.555,8.005,1.885,8.375), (0.265,9.265,0.595,15.305), (2.415,9.895,2.745,14.675), (-0.595,12.415,-0.265,12.785), (2.415,12.415,2.745,12.785), (0.265,13.045,0.595,13.415)])
skywater_rxanlg_singleto.add(gdstk.Reference(skywater_rxanlg_invcore_, (0,0)))
skywater_rxanlg_singleto.add(gdstk.Reference(c_skywater_rxanlg_invcore_, (5.16,0)))
skywater_rxanlg_singleto.add(gdstk.Reference(skywater_rxanlg_passgate, (1.72,0)))
skywater_rxanlg_singleto.add(gdstk.Reference(c_skywater_rxanlg_invcore__, (0,16.38), x_reflection=True))
skywater_rxanlg_singleto.add(gdstk.Reference(c_skywater_rxanlg_invcore_, (5.16,16.38), x_reflection=True))
skywater_rxanlg_singleto.add(gdstk.Reference(c_skywater_rxanlg_invcore___, (1.72,16.38), x_reflection=True))

c_skywater_rxanlg_mosconn_________ = lib.new_cell('skywater_rxanlg_MOSConn_12')
R(c_skywater_rxanlg_mosconn_________, diff, [(-0.14,0.605,1,1.025)])
R(c_skywater_rxanlg_mosconn_________, poly, [(-0.165,0.105,0.165,0.455), (0.695,0.105,1.025,0.455)])
P(c_skywater_rxanlg_mosconn_________, poly, [(0.14,1.155),(0.14,0.455),(-0.29,0.455),(-0.29,0.105),(0.29,0.105),(0.29,1.155)],
  [(0.57,1.155),(0.57,0.105),(1.15,0.105),(1.15,0.455),(0.72,0.455),(0.72,1.155)])
A(c_skywater_rxanlg_mosconn_________, licon, -0.085, 0.73, 0.17, 0.17, 3, 1, 0.43, 0)
R(c_skywater_rxanlg_mosconn_________, licon, [(-0.085,0.195,0.085,0.365), (0.775,0.195,0.945,0.365)])
A(c_skywater_rxanlg_mosconn_________, li1, -0.085, 0.65, 0.17, 0.33, 3, 1, 0.43, 0)
A(c_skywater_rxanlg_mosconn_________, li1, -0.085, 0.69, 0.17, 0.25, 3, 1, 0.43, 0)
R(c_skywater_rxanlg_mosconn_________, li1, [(-0.165,0.195,0.165,0.365), (-0.165,0.195,0.165,0.365), (-0.125,0.195,0.125,0.365), (0.695,0.195,1.025,0.365), (0.695,0.195,1.025,0.365), (0.735,0.195,0.985,0.365)])
A(c_skywater_rxanlg_mosconn_________, mcon, -0.085, 0.73, 0.17, 0.17, 3, 1, 0.43, 0)
R(c_skywater_rxanlg_mosconn_________, mcon, [(-0.085,0.195,0.085,0.365), (0.775,0.195,0.945,0.365)])
A(c_skywater_rxanlg_mosconn_________, met1, -0.13, 0.655, 0.26, 0.32, 3, 1, 0.43, 0)
A(c_skywater_rxanlg_mosconn_________, met1, -0.13, 0.67, 0.26, 0.29, 3, 1, 0.43, 0)
R(c_skywater_rxanlg_mosconn_________, met1, [(-0.13,0.105,0.13,0.425), (0.73,0.105,0.99,0.425), (-0.13,0.135,0.13,0.425), (0.73,0.135,0.99,0.425)])
R(c_skywater_rxanlg_mosconn_________, nsdm, [(0,0,0.86,1.35)])
R(c_skywater_rxanlg_mosconn_________, npc, [(-0.185,0.095,0.185,0.465), (0.675,0.095,1.045,0.465)])

c_skywater_rxanlg_mosconn__________ = lib.new_cell('skywater_rxanlg_MOSConn_11')
R(c_skywater_rxanlg_mosconn__________, nwell, [(0,0,1.72,1.48)])
R(c_skywater_rxanlg_mosconn__________, diff, [(-0.14,0.605,1.86,1.155)])
A(c_skywater_rxanlg_mosconn__________, poly, -0.165, 0.105, 0.33, 0.35, 3, 1, 0.86, 0)
P(c_skywater_rxanlg_mosconn__________, poly, [(0.14,1.285),(0.14,0.455),(-0.29,0.455),(-0.29,0.105),(0.29,0.105),(0.29,1.285)],
  [(1,1.285),(1,0.455),(0.72,0.455),(0.72,1.285),(0.57,1.285),(0.57,0.105),(1.15,0.105),(1.15,1.285)],
  [(1.43,1.285),(1.43,0.105),(2.01,0.105),(2.01,0.455),(1.58,0.455),(1.58,1.285)])
A(c_skywater_rxanlg_mosconn__________, licon, -0.085, 0.195, 0.17, 0.17, 3, 2, 0.86, 0.6)
A(c_skywater_rxanlg_mosconn__________, li1, -0.125, 0.195, 0.25, 0.17, 3, 1, 0.86, 0)
A(c_skywater_rxanlg_mosconn__________, li1, -0.085, 0.715, 0.17, 0.33, 3, 1, 0.86, 0)
A(c_skywater_rxanlg_mosconn__________, li1, -0.085, 0.755, 0.17, 0.25, 3, 1, 0.86, 0)
R(c_skywater_rxanlg_mosconn__________, li1, [(-0.165,0.195,0.165,0.365), (-0.165,0.195,0.165,0.365), (0.695,0.195,1.025,0.365), (0.695,0.195,1.025,0.365), (1.555,0.195,1.885,0.365), (1.555,0.195,1.885,0.365)])
A(c_skywater_rxanlg_mosconn__________, mcon, -0.085, 0.195, 0.17, 0.17, 3, 2, 0.86, 0.6)
A(c_skywater_rxanlg_mosconn__________, met1, -0.13, 0.105, 0.26, 0.32, 3, 2, 0.86, 0.615)
A(c_skywater_rxanlg_mosconn__________, met1, -0.13, 0.135, 0.26, 0.29, 3, 2, 0.86, 0.6)
R(c_skywater_rxanlg_mosconn__________, nsdm, [(0,0,1.72,0.475), (0,1.285,1.72,1.48)])
R(c_skywater_rxanlg_mosconn__________, psdm, [(0,0.475,1.72,1.285)])
A(c_skywater_rxanlg_mosconn__________, npc, -0.185, 0.095, 0.37, 0.37, 3, 1, 0.86, 0)

skywater_rxanlg_nor2core = lib.new_cell('skywater_rxanlg_NOR2Core')
A(skywater_rxanlg_nor2core, met1, 0.73, -0.16, 0.26, 0.32, 1, 3, 0, 3.15)
R(skywater_rxanlg_nor2core, met1, [(-0.13,-0.16,0.13,2.055), (-0.13,-0.16,0.13,0.16), (0.73,-0.16,0.99,2.055), (0.3,1.735,0.56,6.46), (-0.13,2.285,0.13,5.835), (0.73,2.285,0.99,5.835), (-0.13,2.36,0.13,2.68), (1.59,2.36,1.85,5.835), (1.59,2.36,1.85,2.68), (-0.13,6.13,0.13,8.35), (0.73,6.13,0.99,6.46), (1.59,6.13,1.85,8.35), (0.3,6.14,0.56,6.46), (-0.13,8.03,0.13,8.35), (1.59,8.03,1.85,8.35)])
A(skywater_rxanlg_nor2core, via, 0.785, -0.075, 0.15, 0.15, 1, 3, 0, 3.15)
R(skywater_rxanlg_nor2core, via, [(-0.075,-0.075,0.075,0.075), (-0.075,2.445,0.075,2.595), (1.645,2.445,1.795,2.595), (0.355,6.225,0.505,6.375), (-0.075,8.115,0.075,8.265), (1.645,8.115,1.795,8.265)])
R(skywater_rxanlg_nor2core, met2, [(-0.16,-0.14,1.72,0.14), (-0.16,-0.14,0.16,0.14), (0.7,-0.14,1.02,0.14), (-0.16,2.38,1.88,2.66), (-0.16,2.38,0.16,2.66), (1.56,2.38,1.88,2.66), (0.7,3.01,1.02,3.29), (0.7,3.01,1.02,3.29), (0.27,6.16,0.59,6.44), (0.27,6.16,1.02,6.44), (0.7,6.16,1.02,6.44), (-0.16,8.05,1.88,8.33), (-0.16,8.05,0.16,8.33), (1.56,8.05,1.88,8.33)])
skywater_rxanlg_nor2core.add(gdstk.Reference(c_skywater_rxanlg_mosconn_________, (0,2.71), x_reflection=True))
skywater_rxanlg_nor2core.add(gdstk.Reference(c_skywater_rxanlg_mosconn__________, (0,5.41)))

c_skywater_rxanlg_singleto = lib.new_cell('skywater_rxanlg_SingleToDiffEnable')
A(c_skywater_rxanlg_singleto, met2, 2.395, 2.38, 0.37, 0.28, 1, 3, 0, 5.67)
R(c_skywater_rxanlg_singleto, met2, [(-0.16,-0.14,13.33,0.14), (0.27,1.75,5.775,2.03), (5.405,1.75,5.775,2.03), (-0.16,2.38,5.32,2.66), (0.7,3.01,4.485,3.29), (4.115,3.01,4.485,3.29), (-0.16,8.05,13.33,8.33), (4.115,13.09,4.485,13.37), (4.115,13.09,4.485,13.37), (2.395,13.72,5.32,14), (3.28,16.24,13.33,16.52)])
A(c_skywater_rxanlg_singleto, via2, 2.48, 2.42, 0.2, 0.2, 1, 3, 0, 5.67)
R(c_skywater_rxanlg_singleto, via2, [(5.49,1.79,5.69,1.99), (4.2,3.05,4.4,3.25), (4.2,13.13,4.4,13.33)])
A(c_skywater_rxanlg_singleto, met3, 2.415, 2.335, 0.33, 0.37, 1, 3, 0, 5.67)
R(c_skywater_rxanlg_singleto, met3, [(5.425,1.705,5.755,12.785), (5.425,1.705,5.755,2.075), (2.415,2.335,2.745,3.065), (4.135,2.965,4.465,3.695), (4.135,2.965,4.465,3.335), (2.415,8.005,2.745,14.045), (4.135,12.685,4.465,13.415), (4.135,13.045,4.465,13.415)])
c_skywater_rxanlg_singleto.add(gdstk.Reference(skywater_rxanlg_nand2cor, (0,0)))
c_skywater_rxanlg_singleto.add(gdstk.Reference(skywater_rxanlg_singleto, (6.02,0)))
c_skywater_rxanlg_singleto.add(gdstk.Reference(skywater_rxanlg_nor2core, (3.44,16.38), x_reflection=True))

lib.write_gds('skywater_rxanlg_SingleToDiffEnable.gds')
